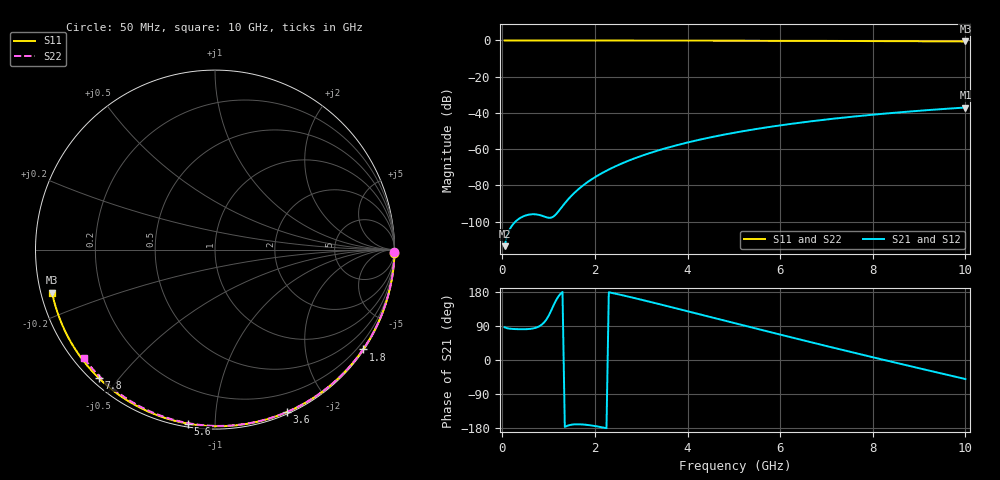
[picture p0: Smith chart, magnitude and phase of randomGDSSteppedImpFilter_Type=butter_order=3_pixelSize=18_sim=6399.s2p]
! freq	dB(S11)	phase(S11)	dB(S12)	phase(S12)
!  dB(S21)	phase(S21)	dB(S22)	phase(S22)
!S-par simulation data
#  GHz  S  DB  R 50
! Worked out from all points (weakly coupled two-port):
!   200 points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, 50 MHz to 10 GHz, reference 50 ohm
!   highest |S21| = -37.01 dB at 10 GHz (marker M1); lowest = -113.5 dB at 50 MHz (marker M2)
!   lowest |S11| = -0.5 dB at 10 GHz (marker M3), VSWR 31.67, Z = 1.61 - j6.49 ohm
!   |S11| at or under -10 dB: nowhere
!   |S22| runs from -0.5 to 0.0 dB; largest |S21 - S12| = 0
!   S11 on the Smith chart (normalised r, x): 50 MHz: open; 1.8 GHz: 0.03, -3.27; 3.6 GHz: 0.02, -1.54; 5.6 GHz: 0.02, -0.86; 7.8 GHz: 0.02, -0.44; 10 GHz: 0.03, -0.13
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0.05  -0.00 -1.0  -113.53 86.4  -113.53 86.4  -0.00 -0.8
0.45  -0.01 -8.6  -97.12 81.1  -97.12 81.1  -0.01 -7.3
0.85  -0.02 -16.2  -96.68 93.1  -96.68 93.1  -0.02 -13.8
1.3  -0.03 -24.7  -91.44 179.4  -91.44 179.4  -0.03 -20.9
1.75  -0.04 -33.0  -79.89 -170.3  -79.89 -170.3  -0.04 -28.0
1.8  -0.04 -34.0  -78.93 -170.8  -78.93 -170.8  -0.04 -28.8
2.1  -0.05 -39.5  -73.97 -176.4  -73.97 -176.4  -0.04 -33.5
2.3  -0.06 -43.1  -71.23 178.8  -71.23 178.8  -0.05 -36.6
2.5  -0.06 -46.7  -68.80 173.5  -68.80 173.5  -0.05 -39.7
2.9  -0.07 -53.8  -64.66 162.1  -64.66 162.1  -0.06 -45.8
3.4  -0.08 -62.6  -60.44 147.1  -60.44 147.1  -0.07 -53.3
3.6  -0.09 -66.0  -58.97 141.0  -58.97 141.0  -0.08 -56.3
4.3  -0.11 -77.8  -54.54 119.4  -54.54 119.4  -0.09 -66.5
5.05  -0.14 -90.0  -50.73 96.2  -50.73 96.2  -0.12 -77.1
5.6  -0.16 -98.7  -48.39 79.3  -48.39 79.3  -0.14 -84.6
6.15  -0.19 -107.3  -46.33 62.5  -46.33 62.5  -0.16 -92.0
6.7  -0.23 -115.7  -44.51 45.9  -44.51 45.9  -0.19 -99.2
7.25  -0.26 -123.9  -42.90 29.4  -42.90 29.4  -0.22 -106.3
7.8  -0.31 -132.1  -41.46 13.1  -41.46 13.1  -0.26 -113.3
8.35  -0.36 -140.3  -40.16 -3.0  -40.16 -3.0  -0.31 -120.2
9.2  -0.45 -153.0  -38.41 -27.5  -38.41 -27.5  -0.38 -130.7
10  -0.55 -165.2  -37.01 -50.3  -37.01 -50.3  -0.47 -140.5
